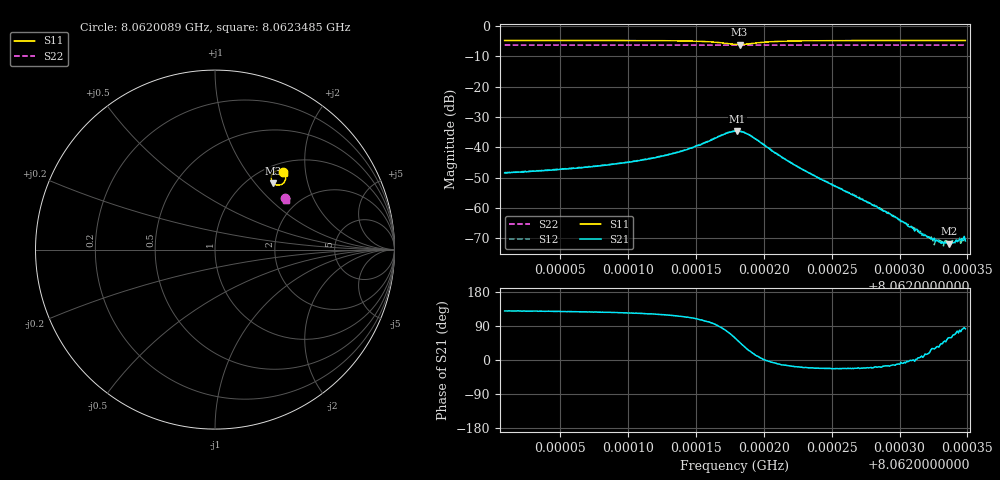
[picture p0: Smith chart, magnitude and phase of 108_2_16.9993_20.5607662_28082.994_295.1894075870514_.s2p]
#  HZ  S  RI  R  50.00
! Rohde & Schwarz Vector Network Analyzer
! Rohde-Schwarz,ZNB20-2Port,1311601062101988,3.16
! Created: UTC 3/20/2024, 10:56:55 PM
! freq[Hz]  re:S11  im:S11  re:S21  im:S21  re:S12  im:S12  re:S22  im:S22
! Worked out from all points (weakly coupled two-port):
!   401 points, 8.0620089 GHz to 8.0623485 GHz, reference 50 ohm
!   highest |S21| = -34.65 dB at 8.0621804 GHz (marker M1); lowest = -71.7 dB at 8.0623367 GHz (marker M2)
!   lowest |S11| = -6.1 dB at 8.0621821 GHz (marker M3), VSWR 2.94, Z = 64 + j62.5 ohm
!   |S11| at or under -10 dB: nowhere
!   |S22| runs from -6.4 to -6.3 dB; largest |S21 - S12| = 0.0013
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8.06200891e9  0.377 0.4347  -0.00242 0.00294  -0.00226 0.00311  0.3876 0.2897
8.0620658e9  0.3827 0.429  -0.0028 0.00367  -0.0026 0.00392  0.3895 0.2869
8.06209637e9  0.3866 0.4238  -0.00313 0.00455  -0.00291 0.00478  0.3906 0.2853
8.06212269e9  0.3907 0.4162  -0.0035 0.00602  -0.00321 0.00633  0.3914 0.2834
8.06214731e9  0.3941 0.4006  -0.00353 0.00914  -0.00307 0.00951  0.3921 0.2818
8.06216514e9  0.3848 0.3741  -0.000547 0.0144  0.000377 0.0147  0.3919 0.2798
8.06217873e9  0.3399 0.3614  0.00976 0.0157  0.0109 0.0152  0.3902 0.2794
8.06218043e9  0.3324 0.3649  0.0113 0.0147  0.0122 0.0139  0.3899 0.2797
8.06218212e9  0.3259 0.3698  0.0126 0.0133  0.0134 0.0127  0.3898 0.2798
8.06218892e9  0.3127 0.3975  0.0147 0.00683  0.015 0.00611  0.3898 0.281
8.06220165e9  0.3281 0.4316  0.0103 -0.000261  0.0104 -0.000842  0.3917 0.2815
8.06221948e9  0.3505 0.4403  0.00539 -0.00153  0.00536 -0.00185  0.393 0.2808
8.06223562e9  0.3609 0.4398  0.00332 -0.00126  0.00324 -0.00147  0.3941 0.2799
8.0622925e9  0.3764 0.4339  0.00078 -0.000231  0.000764 -0.000265  0.3965 0.2768
8.06231628e9  0.3798 0.4319  0.000378 7.01e-05  0.000358 2.14e-05  0.3973 0.2755
8.06232222e9  0.3803 0.4314  0.00031 0.000114  0.000303 9.61e-05  0.3974 0.2752
8.06232562e9  0.3808 0.4311  0.000279 0.000155  0.000214 0.000127  0.3974 0.2751
8.06232901e9  0.3811 0.4308  0.000231 0.000155  0.000246 0.000171  0.3976 0.2748
8.06233071e9  0.3814 0.4307  0.000191 0.00018  0.00023 0.000172  0.3978 0.2746
8.06233666e9  0.3819 0.4303  0.000134 0.000222  0.000138 0.000228  0.3979 0.2745
8.062346e9  0.3829 0.4296  4.64e-05 0.000286  6.95e-05 0.00032  0.3982 0.274
8.06234854e9  0.3831 0.4294  3.79e-05 0.000286  5.62e-05 0.000303  0.3983 0.2739
